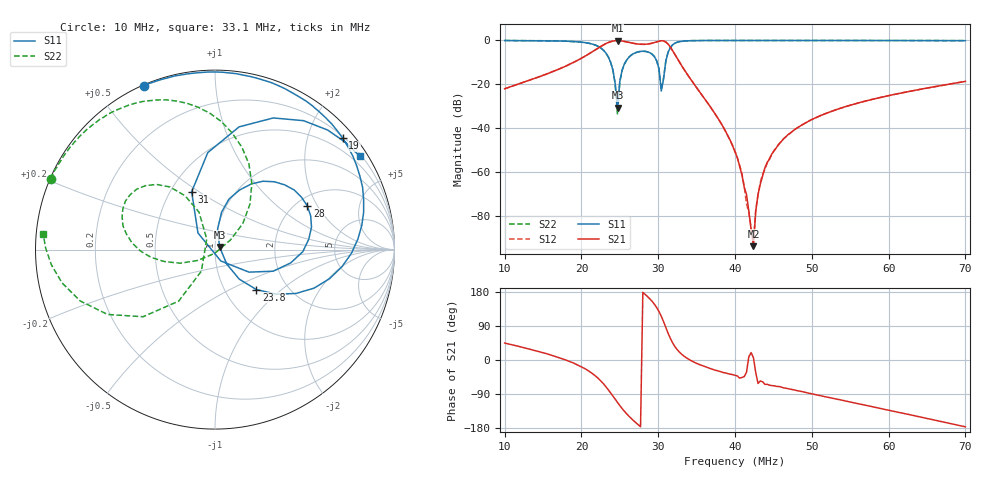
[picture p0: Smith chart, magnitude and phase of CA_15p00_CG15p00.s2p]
#  HZ  S  RI  R  50.00
! Rohde & Schwarz ZVT8 8Ports - Version 4.11 - 1300.0000k08 SN: 100242
! Date: 2026-07-31 14:22:34
! Measurements: S11 S21 S12 S22
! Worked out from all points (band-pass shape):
!   201 points, 10 MHz to 70 MHz, reference 50 ohm
!   highest |S21| = -0.07 dB at 24.7 MHz (marker M1); lowest = -93.6 dB at 42.4 MHz (marker M2)
!   |S21| within 3 dB of the highest: 22.37 MHz to 31.59 MHz (9.221 MHz wide, 34.2 % of centre)
!   lowest |S11| = -30.6 dB at 24.7 MHz (marker M3), VSWR 1.06, Z = 52.6 + j1.62 ohm
!   |S11| at or under -10 dB: 23.81 MHz to 25.72 MHz (1.905 MHz wide, 7.69 % of centre); 29.86 MHz to 30.97 MHz (1.107 MHz wide, 3.64 % of centre)
!   |S22| runs from -33.8 to 0.0 dB; largest |S21 - S12| = 0.0029
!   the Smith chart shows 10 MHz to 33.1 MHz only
!   S11 on the Smith chart (normalised r, x): 10 MHz: 0.00, +0.66; 19 MHz: 0.23, +2.65; 23.8 MHz: 1.40, -0.69; 28 MHz: 2.28, +1.65; 31 MHz: 0.64, +0.47; 33.1 MHz: 0.26, +3.37
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1e7  -0.3976 0.9135  0.0562 0.056  0.056 0.0561  -0.9149 0.3938
1.9e7  0.712 0.6202  0.3159 -0.0456  0.3153 -0.0465  -0.5116 0.7926
2.02e7  0.8068 0.4106  0.3874 -0.1411  0.3868 -0.1405  -0.3654 0.8296
2.38e7  0.2306 -0.2227  0.0552 -0.9369  0.0551 -0.9368  0.1948 0.2537
2.44e7  0.0655 -0.0806  -0.2323 -0.9577  -0.2328 -0.9581  0.0861 0.0533
2.47e7  0.0254 0.0154  -0.3727 -0.919  -0.3715 -0.9175  -0.000967 -0.0205
2.5e7  0.0146 0.1152  -0.4962 -0.851  -0.4977 -0.8503  -0.0958 -0.0604
2.56e7  0.0778 0.2815  -0.676 -0.6675  -0.6745 -0.6667  -0.2831 -0.0664
2.8e7  0.5137 0.2447  -0.8153 0.0209  -0.8163 0.0183  -0.4982 0.272
3.01e7  0.1894 -0.1255  -0.5932 0.7588  -0.5934 0.7577  -0.0893 0.2089
3.04e7  0.0319 -0.0631  -0.425 0.8877  -0.4242 0.8887  -0.046 0.0596
3.1e7  -0.1301 0.3224  0.0718 0.9183  0.0718 0.9174  -0.2019 -0.2868
3.19e7  0.3251 0.7336  0.4128 0.404  0.4124 0.4037  -0.7518 -0.2857
3.31e7  0.8056 0.5209  0.2508 0.064  0.2507 0.0645  -0.9577 0.089
4e7  0.7808 -0.6209  0.0022 -0.00188  0.00226 -0.00205  -0.6986 0.7135
4.15e7  0.6496 -0.7577  0.000264 -0.000166  0.000147 -0.000117  -0.6392 0.7659
4.24e7  0.5609 -0.8248  2.07e-05 2.22e-06  -1.24e-05 -2.4e-05  -0.6067 0.7933
4.36e7  0.4351 -0.898  0.000444 -0.000701  0.00038 -0.00083  -0.5605 0.8266
4.48e7  0.302 -0.9512  0.000997 -0.00242  0.000988 -0.00237  -0.5154 0.8542
5.02e7  -0.3089 -0.9494  -4.85e-05 -0.0165  -8.95e-06 -0.0165  -0.3128 0.9471
6.01e7  -0.9843 -0.1437  -0.038 -0.0411  -0.0379 -0.041  0.0658 0.9932
7e7  -0.5523 0.8211  -0.1168 -0.00735  -0.1164 -0.00732  0.4433 0.8857
